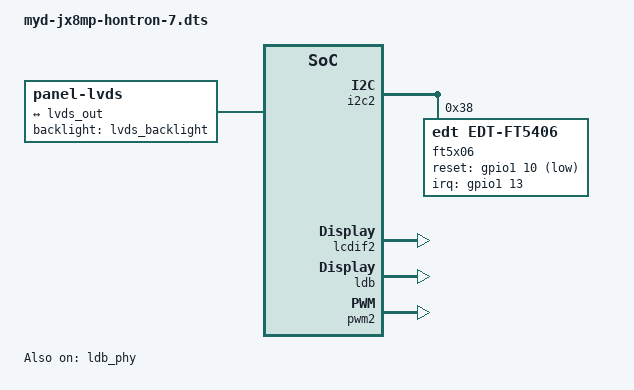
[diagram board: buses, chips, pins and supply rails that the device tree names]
// SPDX-License-Identifier: GPL-2.0+
/*
 * Copyright 2021 MYIR
 */

#include "myd-jx8mp-base.dts"

/ {

	
	
  panel: panel-lvds0 {
    compatible = "panel-lvds";
    backlight = <&lvds_backlight>;
    
		width-mm = <154>;
		height-mm = <85>;
    data-mapping = "vesa-24";
		panel-timing {
				clock-frequency = <38000000>;
				hactive = <1024>;
				hfront-porch = <88>;
				hsync-len = <6>;
				hback-porch = <176>;
				 
				vactive = <600>;
				vfront-porch = <25>; 
				vsync-len = <5>;
				vback-porch = <20>;
				
				
	  };

    port {
        panel_in_lvds0: endpoint {
            remote-endpoint = <&lvds_out>;
        };
    };
	};
	
	lvds_backlight: lvds_backlight {
		status = "okay";
	};
	
};

&i2c2 {

    ft5x06: ft5x06@38 {
			compatible = "edt,edt-ft5406";
			reg = <0x38>;
			pinctrl-names = "default";
			pinctrl-0 = <&edt_ft5x06_pins>;
			interrupt-parent = <&gpio1>;
			interrupts = <13 IRQ_TYPE_EDGE_FALLING>;
			reset-gpios = <&gpio1 10  GPIO_ACTIVE_LOW>;
			touchscreen-size-x=<1024>;
			touchscreen-size-y=<600>;
			status = "okay";
    };
};

&lcdif2 {
	status = "okay";
};

&ldb {
	status = "okay";

	lvds-channel@0 {
		fsl,data-mapping = "spwg";
		fsl,data-width = <24>;
		status = "okay";

		port@1 {
			reg = <1>;

			lvds_out: endpoint {
				remote-endpoint = <&panel_in_lvds0>;
			};
		};
	};
};

&ldb_phy {
	status = "okay";
};


&pwm2 {
	pinctrl-names = "default";
	pinctrl-0 = <&pinctrl_pwm2>;
	status = "okay";
};

&iomuxc {
		edt_ft5x06_pins:pinctrl_ft5xgrp {
			fsl,pins = <
				MX8MP_IOMUXC_GPIO1_IO13__GPIO1_IO13        0x19
				MX8MP_IOMUXC_GPIO1_IO10__GPIO1_IO10        0x19
			>;
		};

		pinctrl_pwm2: lvds0pwm2grp {
			fsl,pins = <
				MX8MP_IOMUXC_GPIO1_IO11__PWM2_OUT	0x116
			>;
		};		
};


&lcdif1{

	status = "disabled";
};

&mipi_dsi{
	status = "disabled";
};

&lcdif3{

	status = "disabled";
};

&irqsteer_hdmi {
	status = "disabled";
};

&hdmi_blk_ctrl {
	status = "disabled";
};

&hdmi_pavi {
	status = "disabled";
};

&hdmi {
	status = "disabled";
};

&hdmiphy {
	status = "disabled";
};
